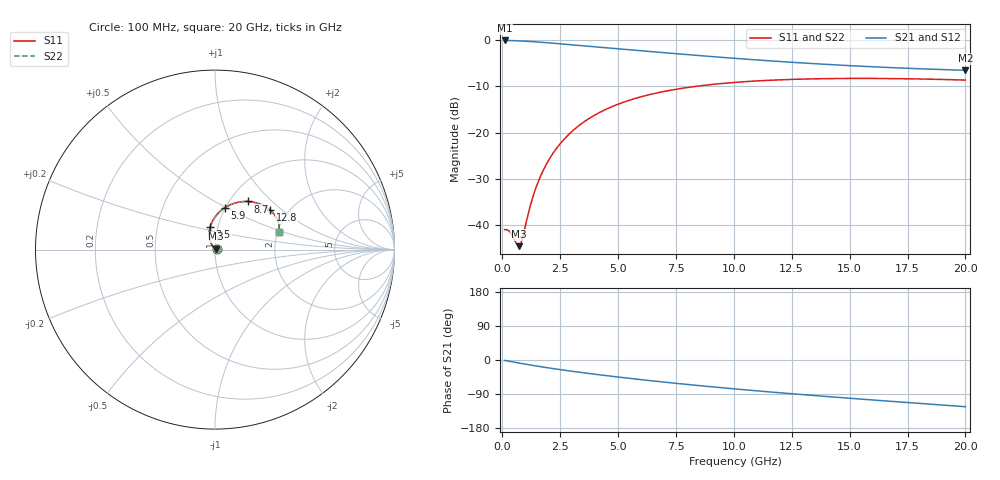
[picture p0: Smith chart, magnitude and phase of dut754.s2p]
! Touchstone file exported from HFSS 2024.1.0
!  File:  C:/UserFiles/LocalFiles/RDL_TSV_Batchsim/temp_RDL_TSV_754_1779898693.aedt
!  Generated:  12:34:14 AM May 28, 2026
!  Design:  RDL_TSV
!  Project:  temp_RDL_TSV_754_1779898693
!  Setup:  Setup1
!  Solution:  Sweep
! Variables:
!  dtsv = 7.04um
!  hbump = 3um
!  htsv = 70.56um
!  ldown = 238.83um
!  lrdl = 215.43um
!  p = 40
!  p1 = 57.18um
!  rhole = 10um
!  subl = 1578.21um
!  t = 450um
!  tdown = 3.18um
!  trdl = 3.41um
!  viad = 10um
!  wdown = 17.88um
!  wrdl = 29.58um
!  xbump = 18um
# GHz S MA R 50.000000
! Terminal data exported
! Port[1] = TM1_1_T1
! Port[2] = TM1_4_T1
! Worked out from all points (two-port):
!   200 points, 100 MHz to 20 GHz, reference 50 ohm
!   highest |S21| = -0.08 dB at 100 MHz (marker M1); lowest = -6.5 dB at 20 GHz (marker M2)
!   |S21| within 3 dB of the highest: start of sweep to 7.842 GHz
!   lowest |S11| = -44.5 dB at 700 MHz (marker M3), VSWR 1.01, Z = 50.3 + j0.492 ohm
!   |S11| at or under -10 dB: start of sweep to 8.356 GHz
!   |S22| runs from -44.5 to -8.3 dB; largest |S21 - S12| = 1.9e-14
!   S11 on the Smith chart (normalised r, x): 100 MHz: 1.02, +0.00; 3.5 GHz: 0.92, +0.24; 5.9 GHz: 1.00, +0.49; 8.7 GHz: 1.21, +0.72; 12.8 GHz: 1.62, +0.83; 20 GHz: 2.03, +0.47
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0.1  0.008976 5.1  0.9907 -1.1  0.9907 -1.1  0.008977 5.1
! Gamma 0 0 0 0
! Port Impedance 50 0 50 0
0.3  0.008616 13.1  0.9886 -3.4  0.9886 -3.4  0.008619 13.1
0.7  0.005935 55.4  0.981 -7.8  0.981 -7.8  0.00594 55.3
0.8  0.00631 76.7  0.9784 -8.9  0.9784 -8.9  0.006306 76.4
0.9  0.007685 94.7  0.9756 -9.9  0.9756 -9.9  0.007669 94.5
1.2  0.01589 118.6  0.9659 -13.1  0.9659 -13.1  0.01584 118.5
1.4  0.02326 122.4  0.9586 -15.1  0.9586 -15.1  0.0232 122.3
1.6  0.0316 123.0  0.9506 -17.1  0.9506 -17.1  0.03151 122.9
1.9  0.0454 121.2  0.938 -20.0  0.938 -20.0  0.04528 121.2
2.2  0.0603 118.1  0.9248 -22.7  0.9248 -22.7  0.06015 118.1
2.6  0.08118 113.3  0.9068 -26.3  0.9068 -26.3  0.08099 113.2
3  0.1026 108.2  0.889 -29.6  0.889 -29.6  0.1023 108.1
3.5  0.1292 101.9  0.867 -33.7  0.867 -33.7  0.1289 101.9
4.6  0.1844 89.3  0.8208 -42.1  0.8208 -42.1  0.184 89.3
5.9  0.2404 76.7  0.77 -51.2  0.77 -51.2  0.2399 76.6
6.8  0.2725 69.1  0.7371 -57.2  0.7371 -57.2  0.2719 69.1
8.7  0.324 55.9  0.674 -68.8  0.674 -68.8  0.3233 55.8
10.1  0.3499 47.9  0.6334 -76.7  0.6334 -76.7  0.3491 47.8
12.8  0.3779 35.6  0.5693 -90.5  0.5693 -90.5  0.377 35.5
13.4  0.3811 33.3  0.5574 -93.4  0.5574 -93.4  0.3802 33.2
16.7  0.3842 22.9  0.5054 -108.7  0.5054 -108.7  0.3833 22.8
20  0.3697 15.7  0.4713 -123.3  0.4713 -123.3  0.3689 15.6
